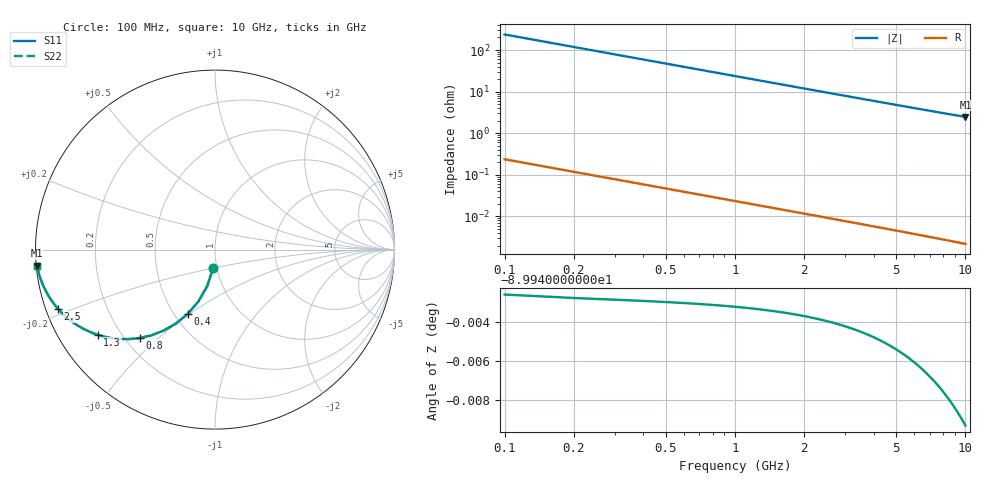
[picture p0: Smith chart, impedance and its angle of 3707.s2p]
# Hz S RI R 50.00
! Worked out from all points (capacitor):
!   100 points, 100 MHz to 10 GHz, reference 50 ohm
!   read as one part in shunt: C = 6.73 pF near 100 MHz
!   lowest |Z| = 2.47 ohm at 10 GHz (marker M1)
!   S11 on the Smith chart (normalised r, x): 100 MHz: 0.96, -0.20; 400 MHz: 0.58, -0.49; 800 MHz: 0.26, -0.44; 1.3 GHz: 0.12, -0.32; 2.5 GHz: 0.04, -0.18; 10 GHz: 0.00, -0.05
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1e8  -0.0112 -0.1045  0.9888 -0.1046  0.9888 -0.1046  -0.0112 -0.1045
2e8  -0.043 -0.2023  0.957 -0.2025  0.957 -0.2025  -0.043 -0.2023
3e8  -0.0917 -0.288  0.9083 -0.2882  0.9083 -0.2882  -0.0917 -0.288
4e8  -0.152 -0.3584  0.848 -0.3587  0.848 -0.3587  -0.152 -0.3584
5e8  -0.2186 -0.4126  0.7813 -0.413  0.7813 -0.413  -0.2186 -0.4126
6e8  -0.2871 -0.4517  0.7129 -0.4521  0.7129 -0.4521  -0.2871 -0.4517
7e8  -0.3539 -0.4774  0.6461 -0.478  0.6461 -0.478  -0.3539 -0.4774
8e8  -0.4169 -0.4922  0.5831 -0.4929  0.5831 -0.4929  -0.4169 -0.4922
1e9  -0.5274 -0.4983  0.4726 -0.4992  0.4726 -0.4992  -0.5274 -0.4983
1.1e9  -0.5744 -0.4935  0.4256 -0.4944  0.4256 -0.4944  -0.5744 -0.4935
1.3e9  -0.6531 -0.4749  0.3469 -0.476  0.3469 -0.476  -0.6531 -0.4749
1.5e9  -0.7146 -0.4505  0.2854 -0.4517  0.2854 -0.4517  -0.7146 -0.4505
1.8e9  -0.7826 -0.4112  0.2173 -0.4127  0.2173 -0.4127  -0.7826 -0.4112
2.1e9  -0.8303 -0.374  0.1697 -0.3757  0.1697 -0.3757  -0.8303 -0.374
2.5e9  -0.8738 -0.3305  0.1262 -0.3326  0.1262 -0.3326  -0.8738 -0.3305
2.9e9  -0.9029 -0.2944  0.0971 -0.2967  0.0971 -0.2967  -0.9029 -0.2944
3.4e9  -0.9273 -0.2577  0.0726 -0.2605  0.0726 -0.2605  -0.9273 -0.2577
4.2e9  -0.951 -0.2135  0.0489 -0.217  0.0489 -0.217  -0.951 -0.2135
5.1e9  -0.9662 -0.178  0.0338 -0.1823  0.0338 -0.1823  -0.9662 -0.178
6.7e9  -0.9801 -0.1362  0.0198 -0.1418  0.0198 -0.1418  -0.9801 -0.1362
8.4e9  -0.9873 -0.1079  0.0127 -0.115  0.0127 -0.115  -0.9873 -0.1079
1e10  -0.991 -0.0894  0.00892 -0.0979  0.00892 -0.0979  -0.991 -0.0894
